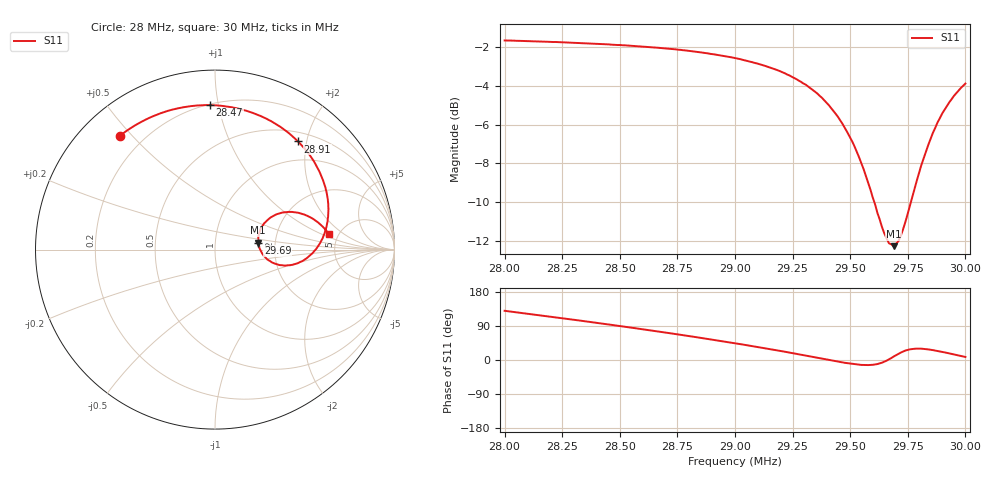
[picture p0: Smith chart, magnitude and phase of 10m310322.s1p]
# MHz S MA R 50
!  freq  S11
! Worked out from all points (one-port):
!   200 points, 28 MHz to 30 MHz, reference 50 ohm
!   lowest |S11| = -12.3 dB at 29.69 MHz (marker M1), VSWR 1.64, Z = 81.4 + j6.53 ohm
!   |S11| at or under -10 dB: 29.61 MHz to 29.76 MHz (158 kHz wide, 0.532 % of centre)
!   S11 on the Smith chart (normalised r, x): 28 MHz: 0.12, +0.46; 28.47 MHz: 0.21, +0.94; 28.91 MHz: 0.65, +1.85; 29.69 MHz: 1.63, +0.13; 30 MHz: 4.15, +1.25
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28  0.8259 129.8
28.111  0.8223 121.3
28.251  0.8169 110.2
28.372  0.8111 100.3
28.472  0.805 92.0
28.503  0.8038 89.4
28.633  0.7936 78.2
28.754  0.7816 67.4
28.915  0.7595 52.5
29.005  0.7431 43.7
29.075  0.726 36.6
29.146  0.7058 29.4
29.256  0.6616 17.5
29.307  0.6353 11.8
29.377  0.588 3.8
29.447  0.5248 -4.2
29.508  0.4546 -10.2
29.548  0.399 -12.9
29.598  0.3252 -12.7
29.648  0.2631 -4.5
29.668  0.2481 1.7
29.688  0.2438 8.9
29.719  0.2588 19.4
29.759  0.3098 28.1
29.809  0.3947 29.9
29.859  0.4775 26.1
29.92  0.5599 18.8
30  0.6395 8.0
